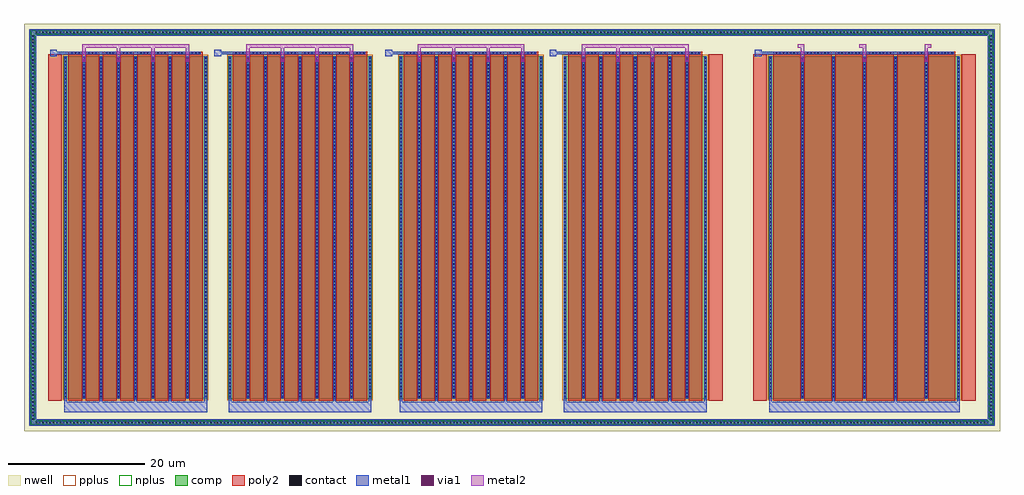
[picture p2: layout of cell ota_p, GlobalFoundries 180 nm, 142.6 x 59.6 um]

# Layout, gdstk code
import gdstk
lib = gdstk.Library(unit=1e-6, precision=1e-09)
def R(c, l, rs):  # rectangles x0, y0, x1, y1
    for r in rs: c.add(gdstk.rectangle(r[:2], r[2:], *l))
def A(c, l, x, y, w, h, nx, ny, dx, dy):  # array of equal rectangles
    R(c, l, [(x+i*dx, y+j*dy, x+i*dx+w, y+j*dy+h) for i in range(nx) for j in range(ny)])
nwell = (21, 0)
comp = (22, 0)
poly2 = (30, 0)
pplus = (31, 0)
nplus = (32, 0)
contact = (33, 0)
metal1 = (34, 0)
via1 = (35, 0)
metal2 = (36, 0)

pfet__0 = lib.new_cell('pfet__0')
R(pfet__0, nwell, [(-0.9,-0.44,20.92,50.44)])
R(pfet__0, comp, [(-0.46,0,0,50), (0,0,20.02,50), (20.02,0,20.48,50)])
A(pfet__0, poly2, 0.19, -0.3, 2, 50.6, 8, 1, 2.52, 0)
A(pfet__0, poly2, 0.19, 50.3, 2, 0.38, 8, 1, 2.52, 0)
R(pfet__0, pplus, [(-0.63,-0.24,20.65,50.24)])
A(pfet__0, contact, -0.34, 0.155, 0.22, 0.22, 1, 98, 0, 0.51)
A(pfet__0, contact, 2.34, 0.155, 0.22, 0.22, 7, 98, 2.52, 0.51)
A(pfet__0, contact, 20.14, 0.155, 0.22, 0.22, 1, 98, 0, 0.51)
A(pfet__0, contact, 0.57, 50.38, 0.22, 0.22, 3, 1, 0.51, 0)
A(pfet__0, contact, 3.09, 50.38, 0.22, 0.22, 3, 1, 0.51, 0)
A(pfet__0, contact, 5.61, 50.38, 0.22, 0.22, 3, 1, 0.51, 0)
A(pfet__0, contact, 8.13, 50.38, 0.22, 0.22, 3, 1, 0.51, 0)
A(pfet__0, contact, 10.65, 50.38, 0.22, 0.22, 3, 1, 0.51, 0)
A(pfet__0, contact, 13.17, 50.38, 0.22, 0.22, 3, 1, 0.51, 0)
A(pfet__0, contact, 15.69, 50.38, 0.22, 0.22, 3, 1, 0.51, 0)
A(pfet__0, contact, 18.21, 50.38, 0.22, 0.22, 3, 1, 0.51, 0)
A(pfet__0, metal1, 2.26, 0.075, 0.38, 49.85, 7, 1, 2.52, 0)
A(pfet__0, metal1, 0.49, 50.3, 1.4, 0.38, 8, 1, 2.52, 0)
R(pfet__0, metal1, [(-0.42,0.075,-0.04,49.925), (20.06,0.075,20.44,49.925)])

pair_a1 = lib.new_cell('pair_a1')
A(pair_a1, metal1, 4.78, -2.49, 0.38, 2.095, 3, 1, 5.04, 0)
A(pair_a1, metal1, 2.2, 48.735, 0.5, 0.5, 4, 1, 5.04, 0)
R(pair_a1, metal1, [(-0.42,-2.49,-0.04,-0.395), (-0.42,-2.49,20.44,-0.99), (20.06,-2.49,20.44,-0.395), (-2.5,49.5,-1.5,50.5), (-2,49.81,0.5,50.19), (0.49,49.81,19.53,50.19)])
A(pair_a1, via1, 2.32, 48.855, 0.26, 0.26, 4, 1, 5.04, 0)
A(pair_a1, metal2, 2.2, 48.735, 0.5, 2.515, 4, 1, 5.04, 0)
R(pair_a1, metal2, [(2.2,50.75,17.82,51.25)])
pair_a1.add(gdstk.Reference(pfet__0, (0,-0.49)))

pair_b1 = lib.new_cell('pair_b1')
A(pair_b1, metal1, 4.78, -2.49, 0.38, 2.095, 3, 1, 5.04, 0)
A(pair_b1, metal1, 2.2, 48.735, 0.5, 0.5, 4, 1, 5.04, 0)
R(pair_b1, metal1, [(-0.42,-2.49,-0.04,-0.395), (-0.42,-2.49,20.44,-0.99), (20.06,-2.49,20.44,-0.395), (-2.5,49.5,-1.5,50.5), (-2,49.81,0.5,50.19), (0.49,49.81,19.53,50.19)])
A(pair_b1, via1, 2.32, 48.855, 0.26, 0.26, 4, 1, 5.04, 0)
A(pair_b1, metal2, 2.2, 48.735, 0.5, 2.515, 4, 1, 5.04, 0)
R(pair_b1, metal2, [(2.2,50.75,17.82,51.25)])
pair_b1.add(gdstk.Reference(pfet__0, (0,-0.49)))

pair_b2 = lib.new_cell('pair_b2')
A(pair_b2, metal1, 4.78, -2.49, 0.38, 2.095, 3, 1, 5.04, 0)
A(pair_b2, metal1, 2.2, 48.735, 0.5, 0.5, 4, 1, 5.04, 0)
R(pair_b2, metal1, [(-0.42,-2.49,-0.04,-0.395), (-0.42,-2.49,20.44,-0.99), (20.06,-2.49,20.44,-0.395), (-2.5,49.5,-1.5,50.5), (-2,49.81,0.5,50.19), (0.49,49.81,19.53,50.19)])
A(pair_b2, via1, 2.32, 48.855, 0.26, 0.26, 4, 1, 5.04, 0)
A(pair_b2, metal2, 2.2, 48.735, 0.5, 2.515, 4, 1, 5.04, 0)
R(pair_b2, metal2, [(2.2,50.75,17.82,51.25)])
pair_b2.add(gdstk.Reference(pfet__0, (0,-0.49)))

pair_a2 = lib.new_cell('pair_a2')
A(pair_a2, metal1, 4.78, -2.49, 0.38, 2.095, 3, 1, 5.04, 0)
A(pair_a2, metal1, 2.2, 48.735, 0.5, 0.5, 4, 1, 5.04, 0)
R(pair_a2, metal1, [(-0.42,-2.49,-0.04,-0.395), (-0.42,-2.49,20.44,-0.99), (20.06,-2.49,20.44,-0.395), (-2.5,49.5,-1.5,50.5), (-2,49.81,0.5,50.19), (0.49,49.81,19.53,50.19)])
A(pair_a2, via1, 2.32, 48.855, 0.26, 0.26, 4, 1, 5.04, 0)
A(pair_a2, metal2, 2.2, 48.735, 0.5, 2.515, 4, 1, 5.04, 0)
R(pair_a2, metal2, [(2.2,50.75,17.82,51.25)])
pair_a2.add(gdstk.Reference(pfet__0, (0,-0.49)))

pfet__1 = lib.new_cell('pfet__1')
R(pfet__1, nwell, [(-0.9,-0.44,27.88,50.44)])
R(pfet__1, comp, [(-0.46,0,0,50), (0,0,26.98,50), (26.98,0,27.44,50)])
A(pfet__1, poly2, 0.19, -0.3, 4, 50.6, 6, 1, 4.52, 0)
A(pfet__1, poly2, 0.19, 50.3, 4, 0.38, 6, 1, 4.52, 0)
R(pfet__1, pplus, [(-0.63,-0.24,27.61,50.24)])
A(pfet__1, contact, -0.34, 0.155, 0.22, 0.22, 1, 98, 0, 0.51)
A(pfet__1, contact, 4.34, 0.155, 0.22, 0.22, 5, 98, 4.52, 0.51)
A(pfet__1, contact, 27.1, 0.155, 0.22, 0.22, 1, 98, 0, 0.51)
A(pfet__1, contact, 0.55, 50.38, 0.22, 0.22, 7, 1, 0.51, 0)
A(pfet__1, contact, 5.07, 50.38, 0.22, 0.22, 7, 1, 0.51, 0)
A(pfet__1, contact, 9.59, 50.38, 0.22, 0.22, 7, 1, 0.51, 0)
A(pfet__1, contact, 14.11, 50.38, 0.22, 0.22, 7, 1, 0.51, 0)
A(pfet__1, contact, 18.63, 50.38, 0.22, 0.22, 7, 1, 0.51, 0)
A(pfet__1, contact, 23.15, 50.38, 0.22, 0.22, 7, 1, 0.51, 0)
A(pfet__1, metal1, 4.26, 0.075, 0.38, 49.85, 5, 1, 4.52, 0)
A(pfet__1, metal1, 0.47, 50.3, 3.44, 0.38, 6, 1, 4.52, 0)
R(pfet__1, metal1, [(-0.42,0.075,-0.04,49.925), (27.02,0.075,27.4,49.925)])

tail6 = lib.new_cell('tail6')
A(tail6, metal1, 4.2, 48.735, 0.5, 0.5, 3, 1, 9.04, 0)
R(tail6, metal1, [(-0.42,-2.49,-0.04,-0.395), (-0.42,-2.49,27.4,-0.99), (8.78,-2.49,9.16,-0.395), (17.82,-2.49,18.2,-0.395), (27.02,-2.49,27.4,-0.395), (-2.5,49.5,-1.5,50.5), (-2,49.81,0.48,50.19), (0.47,49.81,26.51,50.19)])
A(tail6, via1, 4.32, 48.855, 0.26, 0.26, 3, 1, 9.04, 0)
A(tail6, metal2, 4.2, 48.735, 0.5, 2.515, 3, 1, 9.04, 0)
R(tail6, metal2, [(3.75,50.75,4.7,51.25), (12.75,50.75,13.74,51.25), (22.28,50.75,23.25,51.25)])
tail6.add(gdstk.Reference(pfet__1, (0,-0.49)))

ota_p = lib.new_cell('ota_p')
R(ota_p, nwell, [(-3.3,-5.3,139.3,54.3)])
R(ota_p, comp, [(-2.21,-4.21,-1.79,53.21), (-1.79,-4.21,137.79,-3.79), (137.79,-4.21,138.21,53.21), (-1.79,52.79,137.79,53.21)])
R(ota_p, poly2, [(0.24,-0.79,2.24,49.81), (96.78,-0.79,98.78,49.81), (103.24,-0.79,105.24,49.81), (133.74,-0.79,135.74,49.81)])
R(ota_p, nplus, [(-2.37,-4.37,138.37,-3.63), (-2.37,-4.37,-1.63,53.37), (137.63,-4.37,138.37,53.37), (-2.37,52.63,138.37,53.37)])
A(ota_p, contact, -1.61, -4.11, 0.22, 0.22, 279, 2, 0.5, 57)
A(ota_p, contact, -2.11, -3.61, 0.22, 0.22, 1, 113, 0, 0.5)
A(ota_p, contact, 137.89, -3.61, 0.22, 0.22, 1, 113, 0, 0.5)
R(ota_p, metal1, [(-2.5,-4.5,-1.5,53.5), (-1.5,-4.5,137.5,-3.5), (137.5,-4.5,138.5,53.5), (-1.5,52.5,137.5,53.5)])
ota_p.add(gdstk.Reference(pair_a1, (3,0)))
ota_p.add(gdstk.Reference(pair_b1, (27,0)))
ota_p.add(gdstk.Reference(pair_b2, (52,0)))
ota_p.add(gdstk.Reference(pair_a2, (76,0)))
ota_p.add(gdstk.Reference(tail6, (106,0)))

lib.write_gds('ota_p.gds')
